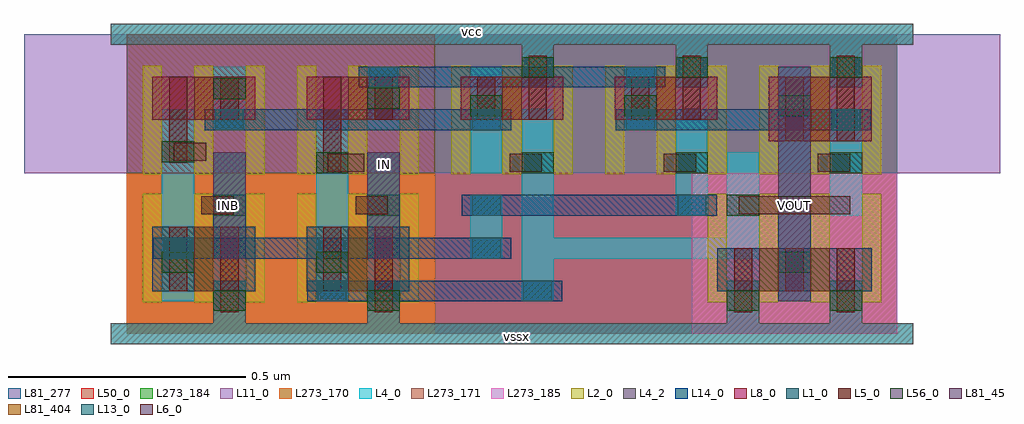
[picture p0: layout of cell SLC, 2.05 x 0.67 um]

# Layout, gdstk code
import gdstk
lib = gdstk.Library(unit=1e-6, precision=5e-10)
def R(c, l, rs):  # rectangles x0, y0, x1, y1
    for r in rs: c.add(gdstk.rectangle(r[:2], r[2:], *l))
def A(c, l, x, y, w, h, nx, ny, dx, dy):  # array of equal rectangles
    R(c, l, [(x+i*dx, y+j*dy, x+i*dx+w, y+j*dy+h) for i in range(nx) for j in range(ny)])
L1_0 = (1, 0)
L2_0 = (2, 0)
L4_0 = (4, 0)
L4_2 = (4, 2)
L5_0 = (5, 0)
L6_0 = (6, 0)
L8_0 = (8, 0)
L11_0 = (11, 0)
L13_0 = (13, 0)
L14_0 = (14, 0)
L50_0 = (50, 0)
L56_0 = (56, 0)
L81_45 = (81, 45)
L81_277 = (81, 277)
L81_404 = (81, 404)
L273_170 = (273, 170)
L273_171 = (273, 171)
L273_184 = (273, 184)
L273_185 = (273, 185)

slc = lib.new_cell('SLC')
A(slc, L1_0, 1.277, 0.09, 0.038, 0.09, 3, 1, 0.108, 0)
R(slc, L1_0, [(0.054,0.09,0.142,0.225), (0.089,0.09,0.127,0.225), (0.142,0.09,0.182,0.225), (0.182,0.09,0.27,0.225), (0.197,0.09,0.235,0.225), (0.378,0.09,0.466,0.225), (0.413,0.09,0.451,0.225), (0.466,0.09,0.506,0.225), (0.506,0.09,0.594,0.225), (0.521,0.09,0.559,0.225), (1.242,0.09,1.33,0.18), (1.33,0.09,1.37,0.18), (1.37,0.09,1.438,0.18), (1.37,0.09,1.438,0.18), (1.438,0.09,1.478,0.18), (1.478,0.09,1.566,0.18)])
A(slc, L2_0, 0.142, 0.336, 0.04, 0.024, 5, 2, 0.324, 0.204)
R(slc, L2_0, [(0.142,0.066,0.182,0.09), (0.466,0.066,0.506,0.09), (1.33,0.066,1.37,0.09), (1.438,0.066,1.478,0.09), (0.142,0.09,0.182,0.27), (0.142,0.09,0.182,0.27), (0.466,0.09,0.506,0.27), (0.466,0.09,0.506,0.27), (1.33,0.09,1.37,0.27), (1.33,0.09,1.37,0.27), (1.438,0.09,1.478,0.27), (1.438,0.09,1.478,0.27), (0.142,0.27,0.182,0.294), (0.466,0.27,0.506,0.294), (1.33,0.27,1.37,0.294), (1.438,0.27,1.478,0.294), (0.142,0.36,0.182,0.54), (0.142,0.36,0.182,0.54), (0.466,0.36,0.506,0.54), (0.466,0.36,0.506,0.54), (0.79,0.36,0.83,0.54), (0.79,0.36,0.83,0.54), (1.114,0.36,1.154,0.54), (1.114,0.36,1.154,0.54), (1.438,0.36,1.478,0.54), (1.438,0.36,1.478,0.54)])
A(slc, L4_0, 0.83, 0.518, 0.068, 0.09, 3, 1, 0.324, 0)
R(slc, L4_0, [(0.182,0.022,0.25,0.112), (0.506,0.022,0.574,0.112), (1.262,0.022,1.33,0.112), (1.478,0.022,1.546,0.112), (0.074,0.068,0.142,0.472), (0.398,0.068,0.466,0.472), (0.83,0.068,0.898,0.472), (1.37,0.068,1.438,0.562), (1.262,0.158,1.33,0.382), (1.154,0.248,1.222,0.472)])
A(slc, L4_2, 0.83, 0.518, 0.068, 0.09, 3, 1, 0.324, 0)
R(slc, L4_2, [(-0.034,-0.022,1.654,0.022), (0.182,0.022,0.25,0.112), (0.506,0.022,0.574,0.112), (1.262,0.022,1.33,0.112), (1.478,0.022,1.546,0.112), (1.37,0.068,1.438,0.562), (0.182,0.158,0.25,0.382), (0.506,0.158,0.574,0.382), (-0.034,0.608,1.654,0.652)])
R(slc, L5_0, [(0.197,0.045,0.235,0.225), (0.521,0.045,0.559,0.225), (1.277,0.045,1.315,0.18), (1.493,0.045,1.531,0.18), (0.089,0.09,0.127,0.225), (0.413,0.09,0.451,0.225), (1.385,0.09,1.423,0.18), (0.089,0.093,0.127,0.137), (0.413,0.093,0.451,0.137), (1.277,0.093,1.315,0.137), (1.493,0.093,1.531,0.137), (0.197,0.1355,0.235,0.1795), (0.521,0.1355,0.559,0.1795), (1.385,0.1595,1.423,0.18), (0.413,0.3375,0.451,0.45), (0.089,0.36,0.127,0.45), (1.385,0.405,1.423,0.54), (1.493,0.405,1.531,0.585), (0.089,0.45,0.127,0.54), (0.197,0.45,0.235,0.54), (0.413,0.45,0.451,0.54), (0.521,0.45,0.559,0.54), (0.521,0.45,0.559,0.497), (0.737,0.45,0.775,0.494), (0.737,0.45,0.775,0.54), (0.845,0.45,0.883,0.585), (1.061,0.45,1.099,0.54), (1.169,0.45,1.207,0.585), (1.493,0.4505,1.531,0.4945), (0.197,0.453,0.235,0.497), (0.845,0.453,0.883,0.497), (1.169,0.453,1.207,0.497), (0.089,0.493,0.127,0.537), (0.413,0.493,0.451,0.537), (1.061,0.493,1.099,0.537), (1.385,0.493,1.423,0.537)])
A(slc, L8_0, 0.142, 0.45, 0.04, 0.09, 4, 1, 0.324, 0)
R(slc, L8_0, [(1.35,0.405,1.438,0.54), (1.385,0.405,1.423,0.54), (1.438,0.405,1.478,0.54), (1.478,0.405,1.566,0.54), (1.493,0.405,1.531,0.54), (0.054,0.45,0.142,0.54), (0.089,0.45,0.127,0.54), (0.182,0.45,0.27,0.54), (0.197,0.45,0.235,0.54), (0.378,0.45,0.466,0.54), (0.413,0.45,0.451,0.54), (0.506,0.45,0.594,0.54), (0.521,0.45,0.559,0.54), (0.702,0.45,0.79,0.54), (0.737,0.45,0.775,0.54), (0.83,0.45,0.918,0.54), (0.845,0.45,0.883,0.54), (1.026,0.45,1.114,0.54), (1.061,0.45,1.099,0.54), (1.154,0.45,1.242,0.54), (1.169,0.45,1.207,0.54)])
R(slc, L11_0, [(-0.216,0.3375,1.836,0.63)])
R(slc, L13_0, [(0.402,0.068,0.462,0.112), (0.834,0.068,0.894,0.112), (0.078,0.158,0.138,0.202), (0.726,0.158,0.786,0.202), (0.726,0.248,0.786,0.292), (1.158,0.248,1.218,0.292), (0.186,0.428,0.246,0.472), (0.726,0.428,0.786,0.472), (1.05,0.428,1.11,0.472), (1.482,0.428,1.542,0.472), (0.51,0.518,0.57,0.562), (1.05,0.518,1.11,0.562)])
R(slc, L14_0, [(0.38,0.068,0.916,0.112), (0.056,0.158,0.808,0.202), (0.704,0.248,1.24,0.292), (0.164,0.428,0.808,0.472), (1.028,0.428,1.564,0.472), (0.488,0.518,1.132,0.562)])
R(slc, L50_0, [(0,0,1.62,0.63)])
A(slc, L56_0, 0.83, 0.338, 0.068, 0.044, 3, 2, 0.324, 0.2)
A(slc, L56_0, 0.722, 0.4575, 0.068, 0.044, 3, 1, 0.324, 0)
R(slc, L56_0, [(0.182,0.048,0.25,0.092), (0.506,0.048,0.574,0.092), (1.262,0.048,1.33,0.092), (1.478,0.048,1.546,0.092), (0.074,0.1285,0.142,0.1725), (0.398,0.1285,0.466,0.1725), (1.37,0.1285,1.438,0.1725), (0.182,0.248,0.25,0.292), (0.506,0.248,0.574,0.292), (1.262,0.248,1.33,0.292), (0.398,0.338,0.466,0.382), (0.074,0.3605,0.142,0.4045), (0.506,0.473,0.574,0.517), (0.182,0.493,0.25,0.537)])
R(slc, L81_45, [(1.37,0.068,1.438,0.562), (0.182,0.158,0.25,0.382), (0.506,0.158,0.574,0.382)])
R(slc, L81_277, [(0,0,1.62,0.63)])
A(slc, L81_404, 0.142, 0.45, 0.04, 0.09, 4, 1, 0.324, 0)
R(slc, L81_404, [(0.142,0.09,0.182,0.225), (0.466,0.09,0.506,0.225), (1.33,0.09,1.37,0.18), (1.438,0.09,1.478,0.18), (1.438,0.405,1.478,0.54)])
R(slc, L273_170, [(0,0,0.324,0.3375), (0,0,0.324,0.3375), (0.324,0,0.648,0.3375), (0.324,0,0.648,0.3375), (0.142,0.09,0.182,0.225), (0.142,0.09,0.182,0.225), (0.142,0.09,0.182,0.225), (0.466,0.09,0.506,0.225), (0.466,0.09,0.506,0.225), (0.466,0.09,0.506,0.225)])
R(slc, L273_171, [(0,0.3375,0.324,0.63), (0,0.3375,0.324,0.63), (0.324,0.3375,0.648,0.63), (0.324,0.3375,0.648,0.63), (0.142,0.45,0.182,0.54), (0.142,0.45,0.182,0.54), (0.142,0.45,0.182,0.54), (0.466,0.45,0.506,0.54), (0.466,0.45,0.506,0.54), (0.466,0.45,0.506,0.54)])
R(slc, L273_184, [(0.648,0.3375,0.972,0.63), (0.648,0.3375,0.972,0.63), (0.972,0.3375,1.296,0.63), (0.972,0.3375,1.296,0.63), (1.296,0.3375,1.62,0.63), (1.296,0.3375,1.62,0.63), (1.438,0.405,1.478,0.54), (1.438,0.405,1.478,0.54), (1.438,0.405,1.478,0.54), (0.79,0.45,0.83,0.54), (0.79,0.45,0.83,0.54), (0.79,0.45,0.83,0.54), (1.114,0.45,1.154,0.54), (1.114,0.45,1.154,0.54), (1.114,0.45,1.154,0.54)])
R(slc, L273_185, [(1.188,0,1.62,0.3375), (1.188,0,1.62,0.3375), (1.33,0.09,1.37,0.18), (1.33,0.09,1.37,0.18), (1.33,0.09,1.37,0.18), (1.438,0.09,1.478,0.18), (1.438,0.09,1.478,0.18), (1.438,0.09,1.478,0.18)])
slc.add(gdstk.FlexPath([(0.594,0.066),(0.594,0.294)], 0.04, ends="flush", simple_path=True, layer=2, datatype=0))  # L2_0
slc.add(gdstk.FlexPath([(0.378,0.066),(0.378,0.294)], 0.04, ends="flush", simple_path=True, layer=2, datatype=0))  # L2_0
slc.add(gdstk.FlexPath([(1.566,0.066),(1.566,0.294)], 0.04, ends="flush", simple_path=True, layer=2, datatype=0))  # L2_0
slc.add(gdstk.FlexPath([(1.242,0.066),(1.242,0.294)], 0.04, ends="flush", simple_path=True, layer=2, datatype=0))  # L2_0
slc.add(gdstk.FlexPath([(1.566,0.336),(1.566,0.564)], 0.04, ends="flush", simple_path=True, layer=2, datatype=0))  # L2_0
slc.add(gdstk.FlexPath([(1.35,0.336),(1.35,0.564)], 0.04, ends="flush", simple_path=True, layer=2, datatype=0))  # L2_0
slc.add(gdstk.FlexPath([(1.242,0.336),(1.242,0.564)], 0.04, ends="flush", simple_path=True, layer=2, datatype=0))  # L2_0
slc.add(gdstk.FlexPath([(1.026,0.336),(1.026,0.564)], 0.04, ends="flush", simple_path=True, layer=2, datatype=0))  # L2_0
slc.add(gdstk.FlexPath([(0.918,0.336),(0.918,0.564)], 0.04, ends="flush", simple_path=True, layer=2, datatype=0))  # L2_0
slc.add(gdstk.FlexPath([(0.27,0.336),(0.27,0.564)], 0.04, ends="flush", simple_path=True, layer=2, datatype=0))  # L2_0
slc.add(gdstk.FlexPath([(0.054,0.336),(0.054,0.564)], 0.04, ends="flush", simple_path=True, layer=2, datatype=0))  # L2_0
slc.add(gdstk.FlexPath([(0.27,0.066),(0.27,0.294)], 0.04, ends="flush", simple_path=True, layer=2, datatype=0))  # L2_0
slc.add(gdstk.FlexPath([(0.054,0.066),(0.054,0.294)], 0.04, ends="flush", simple_path=True, layer=2, datatype=0))  # L2_0
slc.add(gdstk.FlexPath([(0.378,0.336),(0.378,0.564)], 0.04, ends="flush", simple_path=True, layer=2, datatype=0))  # L2_0
slc.add(gdstk.FlexPath([(0.594,0.336),(0.594,0.564)], 0.04, ends="flush", simple_path=True, layer=2, datatype=0))  # L2_0
slc.add(gdstk.FlexPath([(0.702,0.336),(0.702,0.564)], 0.04, ends="flush", simple_path=True, layer=2, datatype=0))  # L2_0
slc.add(gdstk.FlexPath([(1.129,0.36),(1.197,0.36)], 0.038, ends="flush", simple_path=True, layer=6, datatype=0))  # L6_0
slc.add(gdstk.FlexPath([(0.805,0.36),(0.873,0.36)], 0.038, ends="flush", simple_path=True, layer=6, datatype=0))  # L6_0
slc.add(gdstk.FlexPath([(1.287,0.27),(1.521,0.27)], 0.038, ends="flush", simple_path=True, layer=6, datatype=0))  # L6_0
slc.add(gdstk.FlexPath([(0.481,0.27),(0.549,0.27)], 0.038, ends="flush", simple_path=True, layer=6, datatype=0))  # L6_0
slc.add(gdstk.FlexPath([(0.157,0.27),(0.225,0.27)], 0.038, ends="flush", simple_path=True, layer=6, datatype=0))  # L6_0
slc.add(gdstk.FlexPath([(1.453,0.36),(1.521,0.36)], 0.038, ends="flush", simple_path=True, layer=6, datatype=0))  # L6_0
slc.add(gdstk.FlexPath([(0.423,0.36),(0.499,0.36)], 0.038, ends="flush", simple_path=True, layer=6, datatype=0))  # L6_0
slc.add(gdstk.FlexPath([(0.099,0.3825),(0.167,0.3825)], 0.038, ends="flush", simple_path=True, layer=6, datatype=0))  # L6_0
slc.add(gdstk.FlexPath([(0.54,0.428),(0.54,0.562)], 0.068, ends="flush", simple_path=True, layer=4, datatype=0))  # L4_0
slc.add(gdstk.FlexPath([(0.756,0.158),(0.756,0.292)], 0.068, ends="flush", simple_path=True, layer=4, datatype=0))  # L4_0
slc.add(gdstk.FlexPath([(0.756,0.338),(0.756,0.562)], 0.068, ends="flush", simple_path=True, layer=4, datatype=0))  # L4_0
slc.add(gdstk.FlexPath([(0.216,0.428),(0.216,0.562)], 0.068, ends="flush", simple_path=True, layer=4, datatype=0))  # L4_0
slc.add(gdstk.FlexPath([(1.08,0.428),(1.08,0.562)], 0.068, ends="flush", simple_path=True, layer=4, datatype=0))  # L4_0
slc.add(gdstk.FlexPath([(0.54,0.158),(0.54,0.382)], 0.068, ends="flush", simple_path=True, layer=4, datatype=0))  # L4_0
slc.add(gdstk.FlexPath([(0.216,0.158),(0.216,0.382)], 0.068, ends="flush", simple_path=True, layer=4, datatype=0))  # L4_0
slc.add(gdstk.FlexPath([(0.898,0.18),(1.262,0.18)], 0.044, ends="flush", simple_path=True, layer=4, datatype=0))  # L4_0
slc.add(gdstk.FlexPath([(-0.034,0),(1.654,0)], 0.044, ends="flush", simple_path=True, layer=4, datatype=0))  # L4_0
slc.add(gdstk.FlexPath([(-0.034,0.63),(1.654,0.63)], 0.044, ends="flush", simple_path=True, layer=4, datatype=0))  # L4_0
slc.add(gdstk.FlexPath([(1.512,0.248),(1.512,0.472)], 0.068, ends="flush", simple_path=True, layer=4, datatype=0))  # L4_0
slc.add(gdstk.Label('vcc', (0.727,0.6355), layer=4, texttype=2))
slc.add(gdstk.Label('vssx', (0.819,-0.0065), layer=4, texttype=2))
slc.add(gdstk.Label('VOUT', (1.404,0.27), layer=4, texttype=2))
slc.add(gdstk.Label('INB', (0.2145,0.2695), layer=4, texttype=2))
slc.add(gdstk.Label('IN', (0.5415,0.357), layer=4, texttype=2))

lib.write_gds('SLC.gds')
